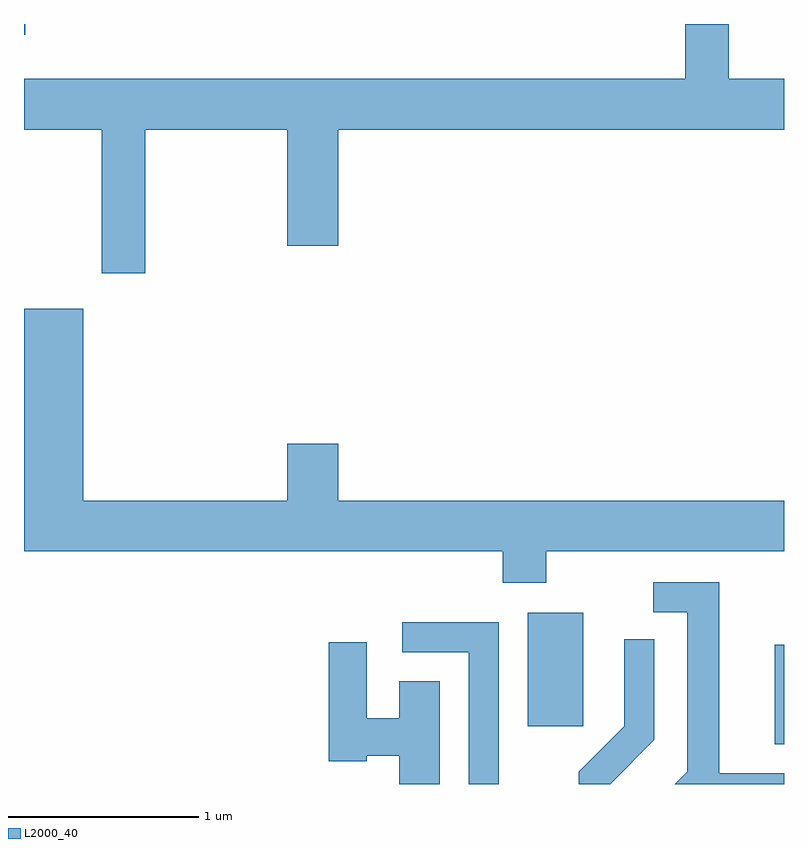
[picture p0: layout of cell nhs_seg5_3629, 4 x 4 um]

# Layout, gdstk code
import gdstk
lib = gdstk.Library(unit=1e-6, precision=1e-09)
def R(c, l, rs):  # rectangles x0, y0, x1, y1
    for r in rs: c.add(gdstk.rectangle(r[:2], r[2:], *l))
def P(c, l, *ps):  # polygons
    for p in ps: c.add(gdstk.Polygon(p, *l))
L2000_40 = (2000, 40)

nhs_seg5_3629 = lib.new_cell('nhs_seg5_3629')
R(nhs_seg5_3629, L2000_40, [(297.561,1400.281,297.611,1400.804), (296.261,1400.376,296.554,1400.974), (293.611,1404.016,293.618,1404.072)])
P(nhs_seg5_3629, L2000_40, [(294.249,1403.516),(294.996,1403.516),(294.996,1402.906),(295.264,1402.906),(295.264,1403.516),(297.611,1403.516),(297.611,1403.784),(297.319,1403.784),(297.319,1404.072),(297.091,1404.072),(297.091,1403.784),(293.611,1403.784),(293.611,1403.516),(294.021,1403.516),(294.021,1402.761),(294.249,1402.761)],
  [(296.359,1401.296),(297.611,1401.296),(297.611,1401.564),(295.264,1401.564),(295.264,1401.864),(294.996,1401.864),(294.996,1401.564),(293.924,1401.564),(293.924,1402.574),(293.611,1402.574),(293.611,1401.296),(296.131,1401.296),(296.131,1401.131),(296.359,1401.131)],
  [(297.611,1400.129),(297.269,1400.129),(297.269,1401.134),(296.923,1401.134),(296.923,1400.976),(297.101,1400.976),(297.101,1400.137),(297.037,1400.072),(297.611,1400.072)],
  [(296.109,1400.924),(295.603,1400.924),(295.603,1400.766),(295.951,1400.766),(295.951,1400.072),(296.109,1400.072)],
  [(296.929,1400.304),(296.929,1400.833),(296.771,1400.833),(296.771,1400.377),(296.531,1400.137),(296.531,1400.072),(296.697,1400.072)],
  [(295.799,1400.614),(295.586,1400.614),(295.586,1400.419),(295.414,1400.419),(295.414,1400.819),(295.216,1400.819),(295.216,1400.191),(295.414,1400.191),(295.414,1400.221),(295.586,1400.221),(295.586,1400.072),(295.799,1400.072)])

lib.write_gds('nhs_seg5_3629.gds')
